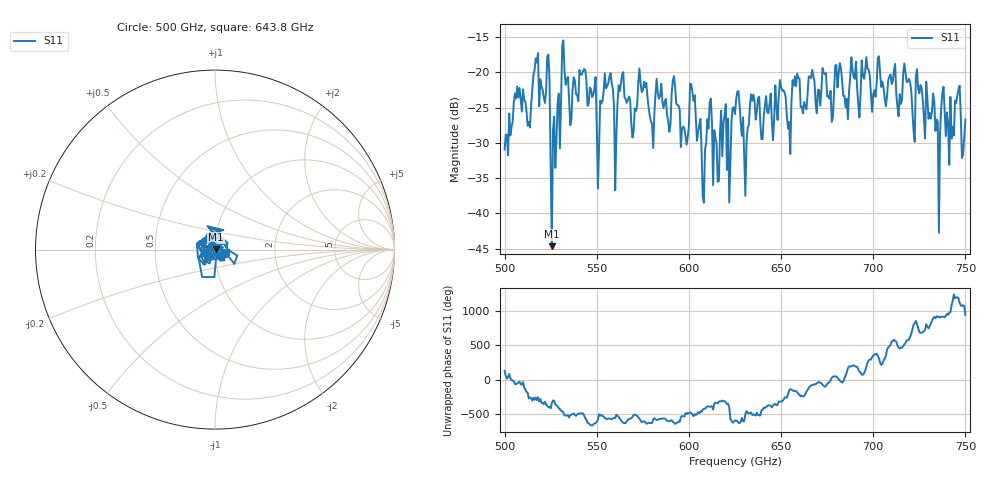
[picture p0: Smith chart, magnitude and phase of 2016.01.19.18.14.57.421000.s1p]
!Created with skrf (http://scikit-rf.org).
# GHz S RI R 50.0
!freq ReS11 ImS11
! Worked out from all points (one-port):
!   401 points, 500 GHz to 750 GHz, reference 50 ohm
!   lowest |S11| = -44.7 dB at 525.6 GHz (marker M1), VSWR 1.01, Z = 50.5 + j0.236 ohm
!   |S11| at or under -10 dB: start of sweep to end of sweep
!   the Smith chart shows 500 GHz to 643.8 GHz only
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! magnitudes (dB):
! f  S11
! 500 GHz  -31.0
! 506.9 GHz  -22.0
! 513.1 GHz  -27.1
! 516.9 GHz  -18.0
! 523.1 GHz  -17.8
! 525.6 GHz  -44.7
! 531.2 GHz  -16.3
! 543.1 GHz  -19.5
! 551.2 GHz  -30.6
! 555.6 GHz  -22.0
! 560 GHz  -36.7
! 562.5 GHz  -22.7
! 570 GHz  -28.4
! 593.8 GHz  -24.6
! 598.8 GHz  -30.3
! 601.9 GHz  -22.7
! 608.1 GHz  -38.5
! 611.2 GHz  -24.3
! 621.9 GHz  -38.5
! 625 GHz  -25.9
! 631.2 GHz  -29.9
! 634.4 GHz  -24.0
! 656.2 GHz  -21.1
! 687.5 GHz  -20.7
! 718.8 GHz  -21.3
! 735 GHz  -27.0
! 745.6 GHz  -23.3
! 750 GHz  -26.7
